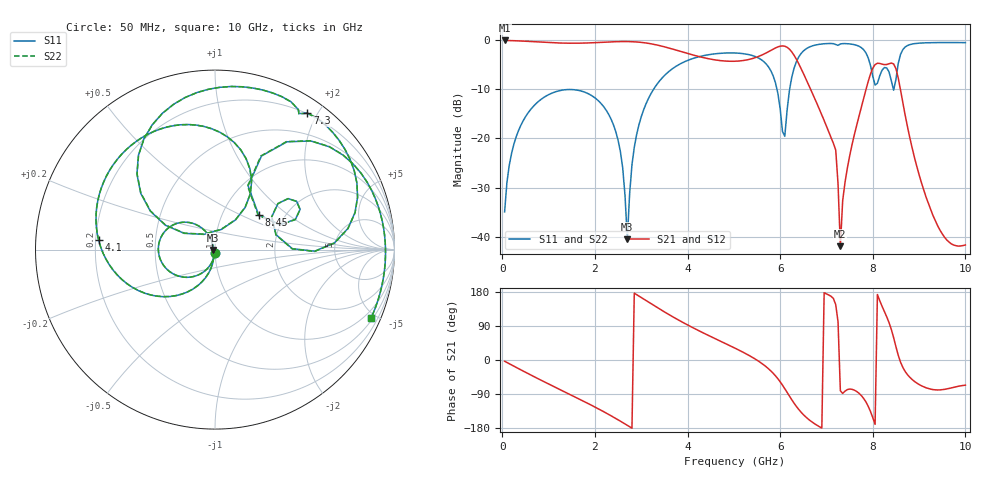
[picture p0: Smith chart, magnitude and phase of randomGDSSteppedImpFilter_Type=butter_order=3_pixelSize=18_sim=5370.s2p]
! freq	dB(S11)	phase(S11)	dB(S12)	phase(S12)
!  dB(S21)	phase(S21)	dB(S22)	phase(S22)
!S-par simulation data
#  GHz  S  DB  R 50
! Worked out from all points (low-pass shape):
!   200 points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, 50 MHz to 10 GHz, reference 50 ohm
!   highest |S21| = -0.01 dB at 50 MHz (marker M1); lowest = -42.0 dB at 7.3 GHz (marker M2)
!   |S21| within 3 dB of the highest: start of sweep to 4.132 GHz; 5.6 GHz to 6.299 GHz (699.4 MHz wide, 11.8 % of centre)
!   lowest |S11| = -40.6 dB at 2.7 GHz (marker M3), VSWR 1.02, Z = 49.1 - j0.19 ohm
!   |S11| at or under -10 dB: start of sweep to 3.265 GHz; 5.932 GHz to 6.204 GHz (272.7 MHz wide, 4.49 % of centre); 8.446081 GHz to 8.45347 GHz (7.389 MHz wide, 0.0874 % of centre)
!   |S22| runs from -40.2 to -0.4 dB; largest |S21 - S12| = 0
!   S11 on the Smith chart (normalised r, x): 50 MHz: 1.00, -0.04; 4.1 GHz: 0.21, +0.04; 7.3 GHz: 0.19, +1.87; 8.45 GHz: 1.48, +0.63; 10 GHz: 0.61, -4.73
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0.05  -34.97 -92.9  -0.01 -3.3  -0.01 -3.3  -34.97 -92.9
0.5  -15.59 -122.7  -0.17 -32.3  -0.17 -32.3  -15.59 -122.7
1.75  -10.46 161.4  -0.55 -108.4  -0.55 -108.4  -10.46 161.4
2.45  -18.60 117.9  -0.26 -154.3  -0.26 -154.3  -18.59 118.1
2.7  -40.57 -168.1  -0.23 -172.4  -0.23 -172.4  -40.18 -168.7
2.9  -19.24 -102.3  -0.32 172.5  -0.32 172.5  -19.23 -102.6
3.4  -8.22 -137.4  -1.07 134.4  -1.07 134.4  -8.22 -137.5
4.1  -3.74 175.4  -2.93 86.2  -2.93 86.2  -3.74 175.3
5.05  -2.58 120.2  -4.24 29.8  -4.24 29.8  -2.57 120.2
5.8  -6.20 66.5  -2.03 -29.0  -2.03 -29.0  -6.20 66.6
6.1  -19.56 126.3  -1.19 -75.6  -1.19 -75.6  -19.47 126.0
6.3  -5.68 142.8  -3.02 -113.9  -3.02 -113.9  -5.68 142.6
6.7  -1.10 96.6  -10.87 -164.7  -10.87 -164.7  -1.10 96.5
7.2  -0.84 59.3  -22.35 146.0  -22.35 146.0  -0.85 59.2
7.3  -0.74 55.9  -41.96 -81.1  -41.96 -81.1  -0.75 55.9
7.45  -0.67 45.0  -26.09 -78.2  -26.09 -78.2  -0.67 45.0
7.95  -5.11 -0.9  -6.88 -135.7  -6.88 -135.7  -5.12 -1.1
8.35  -6.40 20.6  -4.77 99.0  -4.77 99.0  -6.42 20.5
8.45  -10.15 38.6  -4.79 59.2  -4.79 59.2  -10.24 38.5
8.65  -1.86 48.5  -12.75 -19.7  -12.75 -19.7  -1.87 48.7
9.3  -0.45 2.7  -35.71 -78.1  -35.71 -78.1  -0.45 2.7
10  -0.45 -23.5  -41.72 -66.4  -41.72 -66.4  -0.45 -23.5
